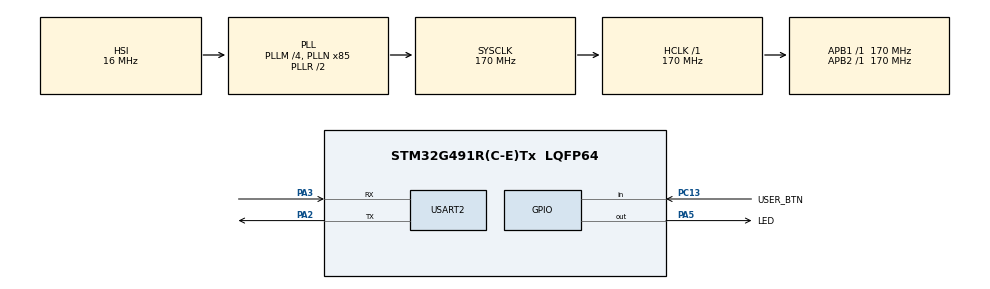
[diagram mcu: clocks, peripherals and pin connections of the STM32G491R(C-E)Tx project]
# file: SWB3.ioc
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Mcu.Family=STM32G4
Mcu.Name=STM32G491R(C-E)Tx
Mcu.Package=LQFP64
NVIC.PriorityGroup=NVIC_PRIORITYGROUP_4
NVIC.TIM6_DAC_IRQn=true\:10\:0\:true\:false\:true\:true\:true\:true
NVIC.USART2_IRQn=true\:3\:0\:true\:false\:true\:true\:true\:true
PA13.GPIO_Label=T_SWDIO
PA13.Signal=SYS_JTMS-SWDIO
PA14.GPIO_Label=T_SWCLK
PA14.Signal=SYS_JTCK-SWCLK
PA2.Mode=Asynchronous
PA2.Signal=USART2_TX
PA3.Mode=Asynchronous
PA3.Signal=USART2_RX
PA5.GPIO_Label=LED
PA5.Signal=GPIO_Output
PB3.GPIO_Label=T_SWO
PB3.Signal=SYS_JTDO-SWO
PC0.GPIO_Label=LPUART1_RX [STLINKV3E_VCP_TX]
PC0.Signal=LPUART1_RX
PC1.GPIO_Label=LPUART1_TX [STLINKV3E_VCP_RX]
PC1.Signal=LPUART1_TX
PC13.GPIO_Label=USER_BTN
PC13.Signal=GPIO_Input
PC14-OSC32_IN.GPIO_Label=RCC_OSC32_IN
PC14-OSC32_IN.Signal=RCC_OSC32_IN
PC15-OSC32_OUT.GPIO_Label=RCC_OSC32_OUT
PC15-OSC32_OUT.Signal=RCC_OSC32_OUT
PF0-OSC_IN.GPIO_Label=RCC_OSC_IN
PF0-OSC_IN.Signal=RCC_OSC_IN
PF1-OSC_OUT.GPIO_Label=RCC_OSC_OUT
PF1-OSC_OUT.Signal=RCC_OSC_OUT
ProjectManager.HeapSize=0x200
ProjectManager.StackSize=0x400
ProjectManager.TargetToolchain=STM32CubeIDE
RCC.ADC12Freq_Value=170000000
RCC.ADC345Freq_Value=170000000
RCC.AHBFreq_Value=170000000
RCC.APB1Freq_Value=170000000
RCC.APB1TimFreq_Value=170000000
RCC.APB2Freq_Value=170000000
RCC.APB2TimFreq_Value=170000000
RCC.CortexFreq_Value=170000000
RCC.EXTERNAL_CLOCK_VALUE=12288000
RCC.HCLKFreq_Value=170000000
RCC.HSE_VALUE=24000000
RCC.HSI48_VALUE=48000000
RCC.HSI_VALUE=16000000
RCC.LSE_VALUE=32768
RCC.PLLM=RCC_PLLM_DIV4
RCC.PLLN=85
RCC.RTCClockSelection=RCC_RTCCLKSOURCE_LSE
RCC.SYSCLKFreq_VALUE=170000000
RCC.SYSCLKSource=RCC_SYSCLKSOURCE_PLLCLK
RCC.USBFreq_Value=48000000
RCC.VCOOutputFreq_Value=340000000
TIM6.PeriodNoDither=999
TIM6.Prescaler=169
USART2.VirtualMode-Asynchronous=VM_ASYNC
VP_SYS_VS_DBSignals.Mode=DisableDeadBatterySignals
VP_TIM6_VS_ClockSourceINT.Mode=Enable_Timer
board=NUCLEO-G491RE

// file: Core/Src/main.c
/* USER CODE BEGIN Header */
/**
  ******************************************************************************
  * @file           : main.c
  * @brief          : Main program body
  ******************************************************************************
  * @attention
  *
  * Copyright (c) 2026 STMicroelectronics.
  * All rights reserved.
  *
  * This software is licensed under terms that can be found in the LICENSE file
  * in the root directory of this software component.
  * If no LICENSE file comes with this software, it is provided AS-IS.
  *
  ******************************************************************************
  */
/* USER CODE END Header */
#include "main.h"

/* USER CODE BEGIN Includes */
#include <stdio.h>
#include <string.h>
#include <stdlib.h>
#include <stdbool.h>

#define LOGI(fmt, ...) printf("[INFO] " fmt "\r\n", ##__VA_ARGS__)
#define LOGW(fmt, ...) printf("[WARN] " fmt "\r\n", ##__VA_ARGS__)
#define LOGE(fmt, ...) printf("[ERROR] " fmt "\r\n", ##__VA_ARGS__)

/* USER CODE END Includes */

/* USER CODE BEGIN PD */

#define FLASH_USER_START_ADDR  ((uint32_t)0x0803F800U) // constant giving the start address of the flash area we’ll use
#define FLASH_USER_END_ADDR    ((uint32_t)0x08040000U) // end address of that region. The code will only operate inside this range.

/* USER CODE END PD */

TIM_HandleTypeDef htim6;

UART_HandleTypeDef huart2;

/* USER CODE BEGIN PV */
#define RX_BUF_SIZE 128u
static uint8_t rx_buf[RX_BUF_SIZE];
static volatile uint16_t rx_head = 0;
static volatile uint16_t rx_tail = 0;
static uint8_t rx_byte = 0;

#define TX_BUF_SIZE 256u
static uint8_t tx_buf[TX_BUF_SIZE];
static volatile uint16_t tx_head = 0;
static volatile uint16_t tx_tail = 0;
static volatile uint8_t tx_busy = 0;

volatile uint32_t custom_tick = 0;

uint32_t blink_delay = 500;
uint8_t use_irq = 0;
uint8_t has_error = 0;

uint32_t t_led = 0;
uint32_t t_log = 0;
uint32_t t_double = 0;
uint8_t d_step = 0;

uint32_t t_btn = 0;
uint8_t clicks = 0;
uint8_t last_btn = 1;
uint8_t auto_blink = 1;

/* USER CODE END PV */

void SystemClock_Config(void);
static void MX_GPIO_Init(void);
static void MX_USART2_UART_Init(void);
static void MX_TIM6_Init(void);

/* USER CODE BEGIN 0 */

// Erase configured flash region (whole pages)
HAL_StatusTypeDef flash_erase_region(void)
{
    FLASH_EraseInitTypeDef EraseInit = {0};
    uint32_t PageError = 0; // store any page number that failed to erase
    const uint32_t pageSize = FLASH_PAGE_SIZE;
    if (FLASH_USER_START_ADDR >= FLASH_USER_END_ADDR) return HAL_ERROR;

    uint32_t startPage = (FLASH_USER_START_ADDR - FLASH_BASE) / pageSize;
    uint32_t nbPages = (FLASH_USER_END_ADDR - FLASH_USER_START_ADDR + pageSize - 1) / pageSize;

    HAL_FLASH_Unlock(); // unlock flash control registers so we can erase/program.

    EraseInit.TypeErase = FLASH_TYPEERASE_PAGES; // erase by pages
    EraseInit.Banks = FLASH_BANK_1; // different nucleo boards may have different amount of data banks
    EraseInit.Page = startPage; // start page to erase, because defined region is one page long (2kb)
    EraseInit.NbPages = nbPages;
    HAL_StatusTypeDef st = HAL_FLASHEx_Erase(&EraseInit, &PageError);
    HAL_FLASH_Lock(); // lock it back

    return st;
}

HAL_StatusTypeDef flash_write_doubleword(uint32_t addr, uint64_t value)
{
    if ((addr < FLASH_USER_START_ADDR) || ((addr + 8) > FLASH_USER_END_ADDR) || (addr & 7U)) {
        return HAL_ERROR;
    }
    HAL_FLASH_Unlock();
    HAL_StatusTypeDef st = HAL_FLASH_Program(FLASH_TYPEPROGRAM_DOUBLEWORD, addr, value);
    HAL_FLASH_Lock();
    return st;
}

// Read bytes from flash into buffer
HAL_StatusTypeDef flash_read_bytes(uint32_t addr, uint8_t *buf, uint32_t len)
{
    if ((addr < FLASH_USER_START_ADDR) || ((addr + len) > FLASH_USER_END_ADDR)) {
        return HAL_ERROR;
    }
    memcpy(buf, (void*)addr, len); // copy from the flash addr to the buff
    return HAL_OK;
}

int __io_putchar(int ch) {
	uint8_t c = (uint8_t) ch;
	uint8_t need_kick = 0;
	__disable_irq();

	uint16_t next_head = (tx_head + 1) & (TX_BUF_SIZE - 1);
	if (next_head != tx_tail) {
		tx_buf[tx_head] = c;
		tx_head = next_head;

		if (!tx_busy) {
			tx_busy = 1;
			need_kick = 1;
		}
	}
	__enable_irq();

	if (need_kick) {
		HAL_UART_Transmit_IT(&huart2, &tx_buf[tx_tail], 1);
	}
	return 1;
}

void HAL_UART_TxCpltCallback(UART_HandleTypeDef* huart) {
	if (huart == &huart2) {
		tx_tail = (tx_tail + 1) & (TX_BUF_SIZE - 1);

		if (tx_tail != tx_head) {
			HAL_UART_Transmit_IT(&huart2, &tx_buf[tx_tail], 1);
		} else {
			tx_busy = 0;
		}
	}
}

void HAL_UART_RxCpltCallback(UART_HandleTypeDef* huart) {
	if (huart == &huart2) {
		uint16_t next_head = (rx_head + 1) & (RX_BUF_SIZE - 1);
		if (next_head != rx_tail) {
			rx_buf[rx_head] = rx_byte;
			rx_head = next_head;
		}

		HAL_UART_Receive_IT(&huart2, &rx_byte, 1);
	}
}

void process_command(char* cmd) {
	uint32_t addr;
	uint32_t len;
	uint64_t val;

	if(strcmp(cmd, "gpio status") == 0) {
		LOGI("BTN: %d, LED: %d\r\n", HAL_GPIO_ReadPin(USER_BTN_GPIO_Port, USER_BTN_Pin), HAL_GPIO_ReadPin(LED_GPIO_Port, LED_Pin));

	} else if (strcmp(cmd, "led on") == 0) {

		auto_blink = 0;
		d_step = 0;
		HAL_GPIO_WritePin(LED_GPIO_Port, LED_Pin, GPIO_PIN_SET);
		LOGI("LED ON");

	} else if (strcmp(cmd, "led off") == 0) {
		auto_blink = 0;
		d_step = 0;

		HAL_GPIO_WritePin(LED_GPIO_Port, LED_Pin, GPIO_PIN_RESET);

		LOGI("LED OFF (auto blink off)");

	} else if (strcmp(cmd, "led toggle") == 0) {

		auto_blink = 0;
		d_step = 0;

		HAL_GPIO_TogglePin(LED_GPIO_Port, LED_Pin);
		LOGI("LED OFF (auto blink off)");

	} else if (strcmp(cmd, "led auto") == 0) {
		auto_blink = 1;
		LOGI("auto blink on");

	} else if (strcmp(cmd, "button mode poll") == 0) {
		use_irq = 0;
		LOGI("Mode set to POLL");
	} else if (strcmp(cmd, "button mode irq") == 0) {
		use_irq = 1;
		LOGI("Mode set to IRQ");
	} else if (strcmp(cmd, "flash erase") == 0) {

		if(flash_erase_region() == HAL_OK) {
			LOGI("INFO: Flash Erased");
		} else {
			LOGE("Flash Erase Failed");
		}
	} else if (strncmp(cmd, "flash write ", 12) == 0) {
		if (sscanf(cmd + 12, "%lx %llx", &addr, &val) == 2) {
			if (flash_write_doubleword(addr, val) == HAL_OK) {
				LOGI("Flash Write OK");
			} else {
				LOGE("Flash Write Failed");
			}
		} else {
			has_error = 2;
			LOGE("Invalid write parameters");
		}
	} else if (strncmp(cmd, "flash read ", 11) == 0) {
		if (sscanf(cmd + 11, "%lx %lu", &addr, &len) == 2) {
			uint8_t buf[16] = {0};
			if(flash_read_bytes(addr, buf, (len>16) ? 16 : len) == HAL_OK) {
				for(int i = 0; i <((len > 16) ? 16 : len); i++) {
					printf("%02X ", buf[i]);
				}
				printf("\r\n");
			} else {
				LOGE("Flash Read Failed");
			}
		} else {
			has_error = 2;
			LOGE("Invalid read parameters");
		}
	} else {
		LOGE("Unknown command: '%s'", cmd);
		has_error = 1;
	}

}

/* USER CODE END 0 */

int main(void)
{

  /* MCU Configuration--------------------------------------------------------*/

  /* Reset of all peripherals, Initializes the Flash interface and the Systick. */
  HAL_Init();

  /* Configure the system clock */
  SystemClock_Config();

  /* Initialize all configured peripherals */
  MX_GPIO_Init();
  MX_USART2_UART_Init();
  MX_TIM6_Init();
  /* USER CODE BEGIN 2 */
  HAL_UART_Receive_IT(&huart2, &rx_byte, 1);

  HAL_TIM_Base_Start_IT(&htim6);

  LOGI("--- System Loaded ---");
  uint64_t startup;
  if (flash_read_bytes(FLASH_USER_START_ADDR, (uint8_t*)&startup, 8) == HAL_OK) {
	  if (startup == 0xFFFFFFFFFFFFFFFF) {
		 LOGI("Flash Record Status: EMPTY");
	  } else {
		 LOGI("Flash Record Status: OK");
	  }
  } else {
	  LOGE("Flash Record Status: FAIL");
  }

  /* USER CODE END 2 */

  /* Infinite loop */
  /* USER CODE BEGIN WHILE */
  char cmd[32];
  uint32_t idx = 0;

  while (1)
  {
	  uint32_t now = custom_tick;

	  if (auto_blink == 1) {
		  if (has_error == 1) {
			  HAL_GPIO_WritePin(LED_GPIO_Port, LED_Pin, GPIO_PIN_SET);
		  } else if (has_error == 2) {
			  HAL_GPIO_WritePin(LED_GPIO_Port, LED_Pin, GPIO_PIN_RESET);
		  } else if (now - t_led >= blink_delay) {
			  t_led = now;
			  HAL_GPIO_TogglePin(LED_GPIO_Port, LED_Pin);
		  }

		  if (now - t_double >= 2200) {
			  t_double = now;
			  d_step = 1;
		  }
		  if (d_step == 1) {
		  		  HAL_GPIO_WritePin(LED_GPIO_Port, LED_Pin, 1);
		  		  d_step = 2;
		  	  } else if (d_step == 2 && now - t_double > 50) {
		  		  HAL_GPIO_WritePin(LED_GPIO_Port, LED_Pin, 0);
		  		  d_step = 3;

		  	  } else if (d_step == 3 && now - t_double > 100) {
		  		  HAL_GPIO_WritePin(LED_GPIO_Port, LED_Pin, 1);
		  		  d_step = 4;
		  	  } else if (d_step == 4 && now - t_double > 150) {
		  		  HAL_GPIO_WritePin(LED_GPIO_Port, LED_Pin, 0);
		  		  d_step = 0;
		  	  }
	  }

	  // log
	  if (now - t_log >= 1000){
		  t_log = now;
		  LOGI("Delay: %lu ms | Error: %d | Mode: %d\r\n", blink_delay, has_error, use_irq);
		  if (has_error > 0) {
			  has_error = 0;
		  }
	  }

	  if (use_irq == 0) {
		  uint8_t btn = HAL_GPIO_ReadPin(USER_BTN_GPIO_Port, USER_BTN_Pin);

		  if (btn == 0 && last_btn == 1) {
			  clicks++;
			  t_btn = now;
		  }

		  last_btn = btn;

		  if (clicks > 0 && (now -t_btn > 400)) {
			  if (clicks == 1 && blink_delay > 100) {
				  blink_delay -= 100;
			  } if (clicks >= 2) {
				  blink_delay += 100;
			  }
			  clicks = 0;
		  }
	  }

	  // UART Buffer
	  while (rx_tail != rx_head) {
		  uint8_t b = rx_buf[rx_tail];
		  rx_tail = (rx_tail + 1) & (RX_BUF_SIZE - 1);

		  if (b == '\b' || b == 0x7F) {
			  if (idx > 0) {
				  idx--;
				  continue;
			  }
		  }

		  if (b == '\n' || b == '\r') {
			  if (idx > 0) {
				  cmd[idx] = 0;
				  process_command(cmd);
			  }
			  idx = 0;
			  continue;
		  }

		  if (idx < 31) {
			 cmd[idx] = (char)b;
			 idx++;
		  } else {
			 idx = 0;
		  }
	  }
    /* USER CODE END WHILE */

  }
}

void SystemClock_Config(void)
{
  RCC_OscInitTypeDef RCC_OscInitStruct = {0};
  RCC_ClkInitTypeDef RCC_ClkInitStruct = {0};

  /** Configure the main internal regulator output voltage
  */
  HAL_PWREx_ControlVoltageScaling(PWR_REGULATOR_VOLTAGE_SCALE1_BOOST);

  /** Initializes the RCC Oscillators according to the specified parameters
  * in the RCC_OscInitTypeDef structure.
  */
  RCC_OscInitStruct.OscillatorType = RCC_OSCILLATORTYPE_HSI;
  RCC_OscInitStruct.HSIState = RCC_HSI_ON;
  RCC_OscInitStruct.HSICalibrationValue = RCC_HSICALIBRATION_DEFAULT;
  RCC_OscInitStruct.PLL.PLLState = RCC_PLL_ON;
  RCC_OscInitStruct.PLL.PLLSource = RCC_PLLSOURCE_HSI;
  RCC_OscInitStruct.PLL.PLLM = RCC_PLLM_DIV4;
  RCC_OscInitStruct.PLL.PLLN = 85;
  RCC_OscInitStruct.PLL.PLLP = RCC_PLLP_DIV2;
  RCC_OscInitStruct.PLL.PLLQ = RCC_PLLQ_DIV2;
  RCC_OscInitStruct.PLL.PLLR = RCC_PLLR_DIV2;
  if (HAL_RCC_OscConfig(&RCC_OscInitStruct) != HAL_OK)
  {
    Error_Handler();
  }

  /** Initializes the CPU, AHB and APB buses clocks
  */
  RCC_ClkInitStruct.ClockType = RCC_CLOCKTYPE_HCLK|RCC_CLOCKTYPE_SYSCLK
                              |RCC_CLOCKTYPE_PCLK1|RCC_CLOCKTYPE_PCLK2;
  RCC_ClkInitStruct.SYSCLKSource = RCC_SYSCLKSOURCE_PLLCLK;
  RCC_ClkInitStruct.AHBCLKDivider = RCC_SYSCLK_DIV1;
  RCC_ClkInitStruct.APB1CLKDivider = RCC_HCLK_DIV1;
  RCC_ClkInitStruct.APB2CLKDivider = RCC_HCLK_DIV1;

  if (HAL_RCC_ClockConfig(&RCC_ClkInitStruct, FLASH_LATENCY_4) != HAL_OK)
  {
    Error_Handler();
  }
}

static void MX_TIM6_Init(void)
{

  TIM_MasterConfigTypeDef sMasterConfig = {0};

  htim6.Instance = TIM6;
  htim6.Init.Prescaler = 169;
  htim6.Init.CounterMode = TIM_COUNTERMODE_UP;
  htim6.Init.Period = 999;
  htim6.Init.AutoReloadPreload = TIM_AUTORELOAD_PRELOAD_DISABLE;
  if (HAL_TIM_Base_Init(&htim6) != HAL_OK)
  {
    Error_Handler();
  }
  sMasterConfig.MasterOutputTrigger = TIM_TRGO_RESET;
  sMasterConfig.MasterSlaveMode = TIM_MASTERSLAVEMODE_DISABLE;
  if (HAL_TIMEx_MasterConfigSynchronization(&htim6, &sMasterConfig) != HAL_OK)
  {
    Error_Handler();
  }

}

static void MX_USART2_UART_Init(void)
{

  huart2.Instance = USART2;
  huart2.Init.BaudRate = 115200;
  huart2.Init.WordLength = UART_WORDLENGTH_8B;
  huart2.Init.StopBits = UART_STOPBITS_1;
  huart2.Init.Parity = UART_PARITY_NONE;
  huart2.Init.Mode = UART_MODE_TX_RX;
  huart2.Init.HwFlowCtl = UART_HWCONTROL_NONE;
  huart2.Init.OverSampling = UART_OVERSAMPLING_16;
  huart2.Init.OneBitSampling = UART_ONE_BIT_SAMPLE_DISABLE;
  huart2.Init.ClockPrescaler = UART_PRESCALER_DIV1;
  huart2.AdvancedInit.AdvFeatureInit = UART_ADVFEATURE_NO_INIT;
  if (HAL_UART_Init(&huart2) != HAL_OK)
  {
    Error_Handler();
  }
  if (HAL_UARTEx_SetTxFifoThreshold(&huart2, UART_TXFIFO_THRESHOLD_1_8) != HAL_OK)
  {
    Error_Handler();
  }
  if (HAL_UARTEx_SetRxFifoThreshold(&huart2, UART_RXFIFO_THRESHOLD_1_8) != HAL_OK)
  {
    Error_Handler();
  }
  if (HAL_UARTEx_DisableFifoMode(&huart2) != HAL_OK)
  {
    Error_Handler();
  }

}

static void MX_GPIO_Init(void)
{
  GPIO_InitTypeDef GPIO_InitStruct = {0};

  /* GPIO Ports Clock Enable */
  __HAL_RCC_GPIOC_CLK_ENABLE();
  __HAL_RCC_GPIOF_CLK_ENABLE();
  __HAL_RCC_GPIOA_CLK_ENABLE();
  __HAL_RCC_GPIOB_CLK_ENABLE();

  /*Configure GPIO pin Output Level */
  HAL_GPIO_WritePin(LED_GPIO_Port, LED_Pin, GPIO_PIN_RESET);

  /*Configure GPIO pin : USER_BTN_Pin */
  GPIO_InitStruct.Pin = USER_BTN_Pin;
  GPIO_InitStruct.Mode = GPIO_MODE_INPUT;
  GPIO_InitStruct.Pull = GPIO_NOPULL;
  HAL_GPIO_Init(USER_BTN_GPIO_Port, &GPIO_InitStruct);

  /*Configure GPIO pins : LPUART1_RX_Pin LPUART1_TX_Pin */
  GPIO_InitStruct.Pin = LPUART1_RX_Pin|LPUART1_TX_Pin;
  GPIO_InitStruct.Mode = GPIO_MODE_AF_PP;
  GPIO_InitStruct.Pull = GPIO_NOPULL;
  GPIO_InitStruct.Speed = GPIO_SPEED_FREQ_LOW;
  GPIO_InitStruct.Alternate = GPIO_AF8_LPUART1;
  HAL_GPIO_Init(GPIOC, &GPIO_InitStruct);

  /*Configure GPIO pin : LED_Pin */
  GPIO_InitStruct.Pin = LED_Pin;
  GPIO_InitStruct.Mode = GPIO_MODE_OUTPUT_PP;
  GPIO_InitStruct.Pull = GPIO_NOPULL;
  GPIO_InitStruct.Speed = GPIO_SPEED_FREQ_LOW;
  HAL_GPIO_Init(LED_GPIO_Port, &GPIO_InitStruct);

}

/* USER CODE BEGIN 4 */

void HAL_TIM_PeriodElapsedCallback(TIM_HandleTypeDef *htim) {
	if (htim == &htim6) {
	        custom_tick++; // Add 1 millisecond
	    }
}

/* USER CODE END 4 */

void Error_Handler(void)
{
  __disable_irq();
  while (1)
  {
  }
}
